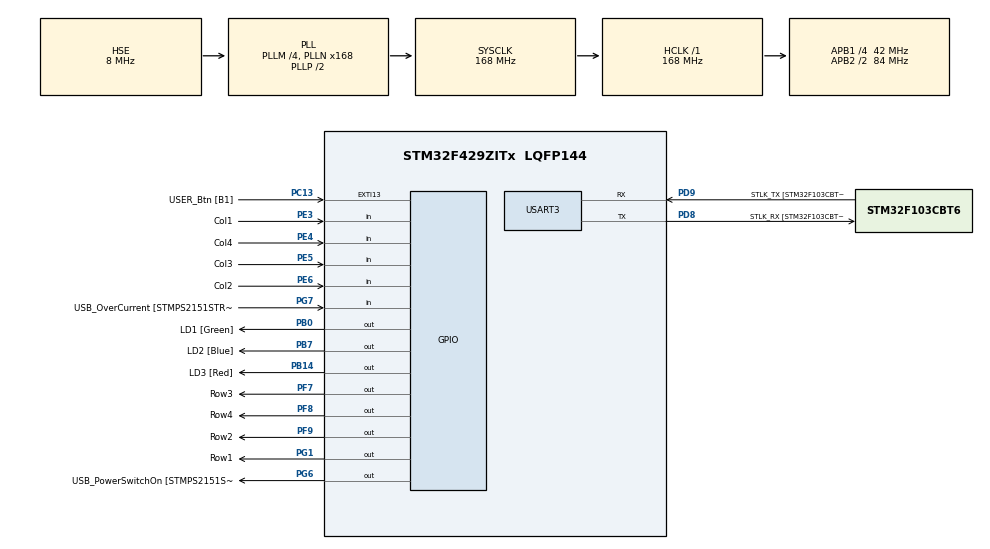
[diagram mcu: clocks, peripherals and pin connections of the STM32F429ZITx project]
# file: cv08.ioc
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Mcu.Family=STM32F4
Mcu.Name=STM32F429ZITx
Mcu.Package=LQFP144
NVIC.PriorityGroup=NVIC_PRIORITYGROUP_4
NVIC.TIM2_IRQn=true\:0\:0\:false\:false\:true\:true\:true
PA1.GPIO_Label=RMII_REF_CLK [LAN8742A-CZ-TR_REFCLK0]
PA1.Signal=ETH_REF_CLK
PA10.GPIO_Label=USB_ID
PA10.Signal=USB_OTG_FS_ID
PA11.GPIO_Label=USB_DM
PA11.Signal=USB_OTG_FS_DM
PA12.GPIO_Label=USB_DP
PA12.Signal=USB_OTG_FS_DP
PA13.GPIO_Label=TMS
PA13.Mode=Serial_Wire
PA13.Signal=SYS_JTMS-SWDIO
PA14.GPIO_Label=TCK
PA14.Mode=Serial_Wire
PA14.Signal=SYS_JTCK-SWCLK
PA2.GPIO_Label=RMII_MDIO [LAN8742A-CZ-TR_MDIO]
PA2.Signal=ETH_MDIO
PA7.GPIO_Label=RMII_CRS_DV [LAN8742A-CZ-TR_CRS_DV]
PA7.Signal=ETH_CRS_DV
PA8.GPIO_Label=USB_SOF [TP1]
PA8.Signal=USB_OTG_FS_SOF
PA9.GPIO_Label=USB_VBUS
PA9.Signal=USB_OTG_FS_VBUS
PB0.GPIO_Label=LD1 [Green]
PB0.Signal=GPIO_Output
PB13.GPIO_Label=RMII_TXD1 [LAN8742A-CZ-TR_TXD1]
PB13.Signal=ETH_TXD1
PB14.GPIO_Label=LD3 [Red]
PB14.Signal=GPIO_Output
PB7.GPIO_Label=LD2 [Blue]
PB7.Signal=GPIO_Output
PC1.GPIO_Label=RMII_MDC [LAN8742A-CZ-TR_MDC]
PC1.Signal=ETH_MDC
PC13.GPIO_Label=USER_Btn [B1]
PC13.Signal=GPXTI13
PC14/OSC32_IN.Mode=LSE-External-Oscillator
PC14/OSC32_IN.Signal=RCC_OSC32_IN
PC15/OSC32_OUT.Mode=LSE-External-Oscillator
PC15/OSC32_OUT.Signal=RCC_OSC32_OUT
PC4.GPIO_Label=RMII_RXD0 [LAN8742A-CZ-TR_RXD0]
PC4.Signal=ETH_RXD0
PC5.GPIO_Label=RMII_RXD1 [LAN8742A-CZ-TR_RXD1]
PC5.Signal=ETH_RXD1
PD8.GPIO_Label=STLK_RX [STM32F103CBT6_PA3]
PD8.Mode=Asynchronous
PD8.Signal=USART3_TX
PD9.GPIO_Label=STLK_TX [STM32F103CBT6_PA2]
PD9.Mode=Asynchronous
PD9.Signal=USART3_RX
PE3.GPIO_Label=Col1
PE3.GPIO_PuPd=GPIO_PULLUP
PE3.Signal=GPIO_Input
PE4.GPIO_Label=Col4
PE4.GPIO_PuPd=GPIO_PULLUP
PE4.Signal=GPIO_Input
PE5.GPIO_Label=Col3
PE5.GPIO_PuPd=GPIO_PULLUP
PE5.Signal=GPIO_Input
PE6.GPIO_Label=Col2
PE6.GPIO_PuPd=GPIO_PULLUP
PE6.Signal=GPIO_Input
PF7.GPIO_Label=Row3
PF7.GPIO_ModeDefaultOutputPP=GPIO_MODE_OUTPUT_OD
PF7.Signal=GPIO_Output
PF8.GPIO_Label=Row4
PF8.GPIO_ModeDefaultOutputPP=GPIO_MODE_OUTPUT_OD
PF8.Signal=GPIO_Output
PF9.GPIO_Label=Row2
PF9.GPIO_ModeDefaultOutputPP=GPIO_MODE_OUTPUT_OD
PF9.Signal=GPIO_Output
PG1.GPIO_Label=Row1
PG1.GPIO_ModeDefaultOutputPP=GPIO_MODE_OUTPUT_OD
PG1.Signal=GPIO_Output
PG11.GPIO_Label=RMII_TX_EN [LAN8742A-CZ-TR_TXEN]
PG11.Signal=ETH_TX_EN
PG13.GPIO_Label=RMII_TXD0 [LAN8742A-CZ-TR_TXD0]
PG13.Signal=ETH_TXD0
PG6.GPIO_Label=USB_PowerSwitchOn [STMPS2151STR_EN]
PG6.Signal=GPIO_Output
PG7.GPIO_Label=USB_OverCurrent [STMPS2151STR_FAULT]
PG7.Signal=GPIO_Input
PH0/OSC_IN.GPIO_Label=MCO [STM32F103CBT6_PA8]
PH0/OSC_IN.Mode=HSE-External-Clock-Source
PH0/OSC_IN.Signal=RCC_OSC_IN
PH1/OSC_OUT.Mode=HSE-External-Clock-Source
PH1/OSC_OUT.Signal=RCC_OSC_OUT
ProjectManager.HeapSize=0x200
ProjectManager.StackSize=0x400
ProjectManager.TargetToolchain=STM32CubeIDE
RCC.48MHZClocksFreq_Value=48000000
RCC.AHBFreq_Value=168000000
RCC.APB1CLKDivider=RCC_HCLK_DIV4
RCC.APB1Freq_Value=42000000
RCC.APB1TimFreq_Value=84000000
RCC.APB2CLKDivider=RCC_HCLK_DIV2
RCC.APB2Freq_Value=84000000
RCC.APB2TimCLKDivider=2
RCC.APB2TimFreq_Value=168000000
RCC.CortexFreq_Value=168000000
RCC.HCLKFreq_Value=168000000
RCC.HSE_VALUE=8000000
RCC.HSI_VALUE=16000000
RCC.PLLM=4
RCC.PLLMUL=RCC_PLL_MUL9
RCC.PLLN=168
RCC.PLLQ=7
RCC.PLLSourceVirtual=RCC_PLLSOURCE_HSE
RCC.PRESCALERUSB=RCC_USBCLKSOURCE_PLL_DIV1_5
RCC.SYSCLKFreq_VALUE=168000000
RCC.SYSCLKSource=RCC_SYSCLKSOURCE_PLLCLK
RCC.SYSCLKSourceVirtual=RCC_SYSCLKSOURCE_PLLCLK
RCC.USBFreq_Value=48000000
RCC.VCOOutputFreq_Value=336000000
TIM2.AutoReloadPreload=TIM_AUTORELOAD_PRELOAD_ENABLE
TIM2.Period=99
TIM2.Prescaler=8399
USART3.VirtualMode=VM_ASYNC
VP_TIM2_VS_ClockSourceINT.Mode=Internal
board=NUCLEO-F429ZI

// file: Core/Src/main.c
/* USER CODE BEGIN Header */
/**
  ******************************************************************************
  * @file           : main.c
  * @brief          : Main program body
  ******************************************************************************
  * @attention
  *
  * <h2><center>&copy; Copyright (c) 2020 STMicroelectronics.
  * All rights reserved.</center></h2>
  *
  * This software component is licensed by ST under BSD 3-Clause license,
  * the "License"; You may not use this file except in compliance with the
  * License. You may obtain a copy of the License at:
  *                        opensource.org/licenses/BSD-3-Clause
  *
  ******************************************************************************
  */
/* USER CODE END Header */

#include "main.h"

/* USER CODE BEGIN Includes */
#include <stdio.h>
/* USER CODE END Includes */

/* USER CODE BEGIN PD */
#define TIMEOUT 3000
/* USER CODE END PD */

TIM_HandleTypeDef htim2;

UART_HandleTypeDef huart3;

/* USER CODE BEGIN PV */
static volatile int8_t key = -1;
/* USER CODE END PV */

void SystemClock_Config(void);
static void MX_GPIO_Init(void);
static void MX_USART3_UART_Init(void);
static void MX_TIM2_Init(void);

/* USER CODE BEGIN 0 */
int __io_putchar(int ch)
{
 ITM_SendChar(ch);
return 0;
}
/* USER CODE END 0 */

int main(void)
{

  /* MCU Configuration--------------------------------------------------------*/

  /* Reset of all peripherals, Initializes the Flash interface and the Systick. */
  HAL_Init();

  /* Configure the system clock */
  SystemClock_Config();

  /* Initialize all configured peripherals */
  MX_GPIO_Init();
  MX_USART3_UART_Init();
  MX_TIM2_Init();
  /* USER CODE BEGIN 2 */
  HAL_TIM_Base_Start_IT(&htim2);

  const uint8_t password[5] =  { 7, 9, 3, 2, 12 };
  uint8_t key_test[5] = {0, 0, 0, 0, 0};
  uint32_t tick = 0;
  static enum {FIRST, SECOND, THIRD, FOURTH,FIFTH} state = FIRST;

  /* USER CODE END 2 */

  /* Infinite loop */
  while (1)
  {

    /* USER CODE BEGIN 3 */

	  if(state == FIRST){
		  if(key != -1){
			  printf("pressed: %d\n",key);
			  key_test[0] = key;
			  state = SECOND;
			  tick = HAL_GetTick();
		  }
		  if(HAL_GetTick() >= (tick+TIMEOUT)){
			  for(uint8_t i=0; i<5;i++) key_test[i]=0;
			  state = FIRST;
		  }
		  key = -1;
	  }
	  else if(state == SECOND){
		  if(key != -1){
			  printf("pressed: %d\n",key);
			  key_test[1] = key;
			  state = THIRD;
			  tick = HAL_GetTick();
		  }
		  if(HAL_GetTick() >= (tick+TIMEOUT)){
			  for(uint8_t i=0; i<5;i++) key_test[i]=0;
			  state = FIRST;
		  }
		  key = -1;

	  }
	  else if(state == THIRD){
		  if(key != -1){
			  printf("pressed: %d\n",key);
			  key_test[2] = key;
			  state = FOURTH;
			  tick = HAL_GetTick();
		  }
		  if(HAL_GetTick() >= (tick+TIMEOUT)){
			  for(uint8_t i=0; i<5;i++) key_test[i]=0;
			  state = FIRST;
		  }
		  key = -1;

	  }
	  else if(state == FOURTH){
		  if(key != -1){
			  printf("pressed: %d\n",key);
			  key_test[3] = key;
			  state = FIFTH;
			  tick = HAL_GetTick();
		  }
		  if(HAL_GetTick() >= (tick+TIMEOUT)){
			  for(uint8_t i=0; i<5;i++) key_test[i]=0;
			  state = FIRST;
		  }
		  key = -1;

	  }
	  else if(state == FIFTH){
		  if(key != -1){
			  printf("pressed: %d\n",key);
			  key_test[4] = key;
			  state = FIRST;
			  tick = HAL_GetTick();
			  uint8_t check = 0;
			  for(uint8_t j=0;j<5;j++){
				  if(key_test[j]==password[j])
				  {
					  check++;
				  }
			  }
			  if(check==5){
				  printf("Password OK");
				  HAL_GPIO_WritePin(LD1_GPIO_Port, LD1_Pin, GPIO_PIN_SET);
				  HAL_Delay(1000);
				  HAL_GPIO_WritePin(LD1_GPIO_Port, LD1_Pin, GPIO_PIN_RESET);
			  }
			  else printf("Password WRONG!!!");
			  for(uint8_t i=0; i<5;i++) key_test[i]=0;
			  state = FIRST;

		  }
		  if(HAL_GetTick() >= (tick+TIMEOUT)){
			  for(uint8_t i=0; i<5;i++) key_test[i]=0;
			  state = FIRST;
		  }
		  key = -1;

	  }

  }
  /* USER CODE END 3 */
}

void SystemClock_Config(void)
{
  RCC_OscInitTypeDef RCC_OscInitStruct = {0};
  RCC_ClkInitTypeDef RCC_ClkInitStruct = {0};

  /** Configure the main internal regulator output voltage
  */
  __HAL_RCC_PWR_CLK_ENABLE();
  __HAL_PWR_VOLTAGESCALING_CONFIG(PWR_REGULATOR_VOLTAGE_SCALE1);
  /** Initializes the CPU, AHB and APB busses clocks
  */
  RCC_OscInitStruct.OscillatorType = RCC_OSCILLATORTYPE_HSE;
  RCC_OscInitStruct.HSEState = RCC_HSE_BYPASS;
  RCC_OscInitStruct.PLL.PLLState = RCC_PLL_ON;
  RCC_OscInitStruct.PLL.PLLSource = RCC_PLLSOURCE_HSE;
  RCC_OscInitStruct.PLL.PLLM = 4;
  RCC_OscInitStruct.PLL.PLLN = 168;
  RCC_OscInitStruct.PLL.PLLP = RCC_PLLP_DIV2;
  RCC_OscInitStruct.PLL.PLLQ = 7;
  if (HAL_RCC_OscConfig(&RCC_OscInitStruct) != HAL_OK)
  {
    Error_Handler();
  }
  /** Initializes the CPU, AHB and APB busses clocks
  */
  RCC_ClkInitStruct.ClockType = RCC_CLOCKTYPE_HCLK|RCC_CLOCKTYPE_SYSCLK
                              |RCC_CLOCKTYPE_PCLK1|RCC_CLOCKTYPE_PCLK2;
  RCC_ClkInitStruct.SYSCLKSource = RCC_SYSCLKSOURCE_PLLCLK;
  RCC_ClkInitStruct.AHBCLKDivider = RCC_SYSCLK_DIV1;
  RCC_ClkInitStruct.APB1CLKDivider = RCC_HCLK_DIV4;
  RCC_ClkInitStruct.APB2CLKDivider = RCC_HCLK_DIV2;

  if (HAL_RCC_ClockConfig(&RCC_ClkInitStruct, FLASH_LATENCY_5) != HAL_OK)
  {
    Error_Handler();
  }
}

static void MX_TIM2_Init(void)
{

  TIM_ClockConfigTypeDef sClockSourceConfig = {0};
  TIM_MasterConfigTypeDef sMasterConfig = {0};

  htim2.Instance = TIM2;
  htim2.Init.Prescaler = 8399;
  htim2.Init.CounterMode = TIM_COUNTERMODE_UP;
  htim2.Init.Period = 99;
  htim2.Init.ClockDivision = TIM_CLOCKDIVISION_DIV1;
  htim2.Init.AutoReloadPreload = TIM_AUTORELOAD_PRELOAD_ENABLE;
  if (HAL_TIM_Base_Init(&htim2) != HAL_OK)
  {
    Error_Handler();
  }
  sClockSourceConfig.ClockSource = TIM_CLOCKSOURCE_INTERNAL;
  if (HAL_TIM_ConfigClockSource(&htim2, &sClockSourceConfig) != HAL_OK)
  {
    Error_Handler();
  }
  sMasterConfig.MasterOutputTrigger = TIM_TRGO_RESET;
  sMasterConfig.MasterSlaveMode = TIM_MASTERSLAVEMODE_DISABLE;
  if (HAL_TIMEx_MasterConfigSynchronization(&htim2, &sMasterConfig) != HAL_OK)
  {
    Error_Handler();
  }

}

static void MX_USART3_UART_Init(void)
{

  huart3.Instance = USART3;
  huart3.Init.BaudRate = 115200;
  huart3.Init.WordLength = UART_WORDLENGTH_8B;
  huart3.Init.StopBits = UART_STOPBITS_1;
  huart3.Init.Parity = UART_PARITY_NONE;
  huart3.Init.Mode = UART_MODE_TX_RX;
  huart3.Init.HwFlowCtl = UART_HWCONTROL_NONE;
  huart3.Init.OverSampling = UART_OVERSAMPLING_16;
  if (HAL_UART_Init(&huart3) != HAL_OK)
  {
    Error_Handler();
  }

}

static void MX_GPIO_Init(void)
{
  GPIO_InitTypeDef GPIO_InitStruct = {0};

  /* GPIO Ports Clock Enable */
  __HAL_RCC_GPIOE_CLK_ENABLE();
  __HAL_RCC_GPIOC_CLK_ENABLE();
  __HAL_RCC_GPIOF_CLK_ENABLE();
  __HAL_RCC_GPIOH_CLK_ENABLE();
  __HAL_RCC_GPIOA_CLK_ENABLE();
  __HAL_RCC_GPIOB_CLK_ENABLE();
  __HAL_RCC_GPIOG_CLK_ENABLE();
  __HAL_RCC_GPIOD_CLK_ENABLE();

  /*Configure GPIO pin Output Level */
  HAL_GPIO_WritePin(GPIOF, Row3_Pin|Row4_Pin|Row2_Pin, GPIO_PIN_RESET);

  /*Configure GPIO pin Output Level */
  HAL_GPIO_WritePin(GPIOB, LD1_Pin|LD3_Pin|LD2_Pin, GPIO_PIN_RESET);

  /*Configure GPIO pin Output Level */
  HAL_GPIO_WritePin(GPIOG, Row1_Pin|USB_PowerSwitchOn_Pin, GPIO_PIN_RESET);

  /*Configure GPIO pins : Col1_Pin Col4_Pin Col3_Pin Col2_Pin */
  GPIO_InitStruct.Pin = Col1_Pin|Col4_Pin|Col3_Pin|Col2_Pin;
  GPIO_InitStruct.Mode = GPIO_MODE_INPUT;
  GPIO_InitStruct.Pull = GPIO_PULLUP;
  HAL_GPIO_Init(GPIOE, &GPIO_InitStruct);

  /*Configure GPIO pin : USER_Btn_Pin */
  GPIO_InitStruct.Pin = USER_Btn_Pin;
  GPIO_InitStruct.Mode = GPIO_MODE_IT_RISING;
  GPIO_InitStruct.Pull = GPIO_NOPULL;
  HAL_GPIO_Init(USER_Btn_GPIO_Port, &GPIO_InitStruct);

  /*Configure GPIO pins : Row3_Pin Row4_Pin Row2_Pin */
  GPIO_InitStruct.Pin = Row3_Pin|Row4_Pin|Row2_Pin;
  GPIO_InitStruct.Mode = GPIO_MODE_OUTPUT_OD;
  GPIO_InitStruct.Pull = GPIO_NOPULL;
  GPIO_InitStruct.Speed = GPIO_SPEED_FREQ_LOW;
  HAL_GPIO_Init(GPIOF, &GPIO_InitStruct);

  /*Configure GPIO pins : RMII_MDC_Pin RMII_RXD0_Pin RMII_RXD1_Pin */
  GPIO_InitStruct.Pin = RMII_MDC_Pin|RMII_RXD0_Pin|RMII_RXD1_Pin;
  GPIO_InitStruct.Mode = GPIO_MODE_AF_PP;
  GPIO_InitStruct.Pull = GPIO_NOPULL;
  GPIO_InitStruct.Speed = GPIO_SPEED_FREQ_VERY_HIGH;
  GPIO_InitStruct.Alternate = GPIO_AF11_ETH;
  HAL_GPIO_Init(GPIOC, &GPIO_InitStruct);

  /*Configure GPIO pins : RMII_REF_CLK_Pin RMII_MDIO_Pin RMII_CRS_DV_Pin */
  GPIO_InitStruct.Pin = RMII_REF_CLK_Pin|RMII_MDIO_Pin|RMII_CRS_DV_Pin;
  GPIO_InitStruct.Mode = GPIO_MODE_AF_PP;
  GPIO_InitStruct.Pull = GPIO_NOPULL;
  GPIO_InitStruct.Speed = GPIO_SPEED_FREQ_VERY_HIGH;
  GPIO_InitStruct.Alternate = GPIO_AF11_ETH;
  HAL_GPIO_Init(GPIOA, &GPIO_InitStruct);

  /*Configure GPIO pins : LD1_Pin LD3_Pin LD2_Pin */
  GPIO_InitStruct.Pin = LD1_Pin|LD3_Pin|LD2_Pin;
  GPIO_InitStruct.Mode = GPIO_MODE_OUTPUT_PP;
  GPIO_InitStruct.Pull = GPIO_NOPULL;
  GPIO_InitStruct.Speed = GPIO_SPEED_FREQ_LOW;
  HAL_GPIO_Init(GPIOB, &GPIO_InitStruct);

  /*Configure GPIO pin : Row1_Pin */
  GPIO_InitStruct.Pin = Row1_Pin;
  GPIO_InitStruct.Mode = GPIO_MODE_OUTPUT_OD;
  GPIO_InitStruct.Pull = GPIO_NOPULL;
  GPIO_InitStruct.Speed = GPIO_SPEED_FREQ_LOW;
  HAL_GPIO_Init(Row1_GPIO_Port, &GPIO_InitStruct);

  /*Configure GPIO pin : RMII_TXD1_Pin */
  GPIO_InitStruct.Pin = RMII_TXD1_Pin;
  GPIO_InitStruct.Mode = GPIO_MODE_AF_PP;
  GPIO_InitStruct.Pull = GPIO_NOPULL;
  GPIO_InitStruct.Speed = GPIO_SPEED_FREQ_VERY_HIGH;
  GPIO_InitStruct.Alternate = GPIO_AF11_ETH;
  HAL_GPIO_Init(RMII_TXD1_GPIO_Port, &GPIO_InitStruct);

  /*Configure GPIO pin : USB_PowerSwitchOn_Pin */
  GPIO_InitStruct.Pin = USB_PowerSwitchOn_Pin;
  GPIO_InitStruct.Mode = GPIO_MODE_OUTPUT_PP;
  GPIO_InitStruct.Pull = GPIO_NOPULL;
  GPIO_InitStruct.Speed = GPIO_SPEED_FREQ_LOW;
  HAL_GPIO_Init(USB_PowerSwitchOn_GPIO_Port, &GPIO_InitStruct);

  /*Configure GPIO pin : USB_OverCurrent_Pin */
  GPIO_InitStruct.Pin = USB_OverCurrent_Pin;
  GPIO_InitStruct.Mode = GPIO_MODE_INPUT;
  GPIO_InitStruct.Pull = GPIO_NOPULL;
  HAL_GPIO_Init(USB_OverCurrent_GPIO_Port, &GPIO_InitStruct);

  /*Configure GPIO pins : USB_SOF_Pin USB_ID_Pin USB_DM_Pin USB_DP_Pin */
  GPIO_InitStruct.Pin = USB_SOF_Pin|USB_ID_Pin|USB_DM_Pin|USB_DP_Pin;
  GPIO_InitStruct.Mode = GPIO_MODE_AF_PP;
  GPIO_InitStruct.Pull = GPIO_NOPULL;
  GPIO_InitStruct.Speed = GPIO_SPEED_FREQ_VERY_HIGH;
  GPIO_InitStruct.Alternate = GPIO_AF10_OTG_FS;
  HAL_GPIO_Init(GPIOA, &GPIO_InitStruct);

  /*Configure GPIO pin : USB_VBUS_Pin */
  GPIO_InitStruct.Pin = USB_VBUS_Pin;
  GPIO_InitStruct.Mode = GPIO_MODE_INPUT;
  GPIO_InitStruct.Pull = GPIO_NOPULL;
  HAL_GPIO_Init(USB_VBUS_GPIO_Port, &GPIO_InitStruct);

  /*Configure GPIO pins : RMII_TX_EN_Pin RMII_TXD0_Pin */
  GPIO_InitStruct.Pin = RMII_TX_EN_Pin|RMII_TXD0_Pin;
  GPIO_InitStruct.Mode = GPIO_MODE_AF_PP;
  GPIO_InitStruct.Pull = GPIO_NOPULL;
  GPIO_InitStruct.Speed = GPIO_SPEED_FREQ_VERY_HIGH;
  GPIO_InitStruct.Alternate = GPIO_AF11_ETH;
  HAL_GPIO_Init(GPIOG, &GPIO_InitStruct);

}

/* USER CODE BEGIN 4 */
void HAL_TIM_PeriodElapsedCallback(TIM_HandleTypeDef *htim)
{
	static int row = 0;
	static const int keyboard[4][4] = {
			{ 1, 2, 3, 21 },
			{ 4, 5, 6, 22 },
			{ 7, 8, 9, 23 },
			{ 11, 0, 12, 24 },
	};
	if (key == -1) {
		if (HAL_GPIO_ReadPin(Col1_GPIO_Port, Col1_Pin) == GPIO_PIN_RESET) key = keyboard[row][0];
		if (HAL_GPIO_ReadPin(Col2_GPIO_Port, Col2_Pin) == GPIO_PIN_RESET) key = keyboard[row][1];
		if (HAL_GPIO_ReadPin(Col3_GPIO_Port, Col3_Pin) == GPIO_PIN_RESET) key = keyboard[row][3];
		if (HAL_GPIO_ReadPin(Col4_GPIO_Port, Col4_Pin) == GPIO_PIN_RESET) key = keyboard[row][4];
	}
	HAL_GPIO_WritePin(Row1_GPIO_Port, Row1_Pin, GPIO_PIN_SET);
	HAL_GPIO_WritePin(Row2_GPIO_Port, Row2_Pin, GPIO_PIN_SET);
	HAL_GPIO_WritePin(Row3_GPIO_Port, Row3_Pin, GPIO_PIN_SET);
	HAL_GPIO_WritePin(Row4_GPIO_Port, Row4_Pin, GPIO_PIN_SET);
	switch (row) {
	case 0: row = 0; HAL_GPIO_WritePin(Row1_GPIO_Port, Row1_Pin, GPIO_PIN_RESET); break;
	case 1: row = 1; HAL_GPIO_WritePin(Row2_GPIO_Port, Row2_Pin, GPIO_PIN_RESET); break;
	case 2: row = 2; HAL_GPIO_WritePin(Row3_GPIO_Port, Row3_Pin, GPIO_PIN_RESET); break;
	case 3: row = 3; HAL_GPIO_WritePin(Row4_GPIO_Port, Row4_Pin, GPIO_PIN_RESET); break;
	}
}
/* USER CODE END 4 */

void Error_Handler(void)
{
}

/************************ (C) COPYRIGHT STMicroelectronics *****END OF FILE****/
